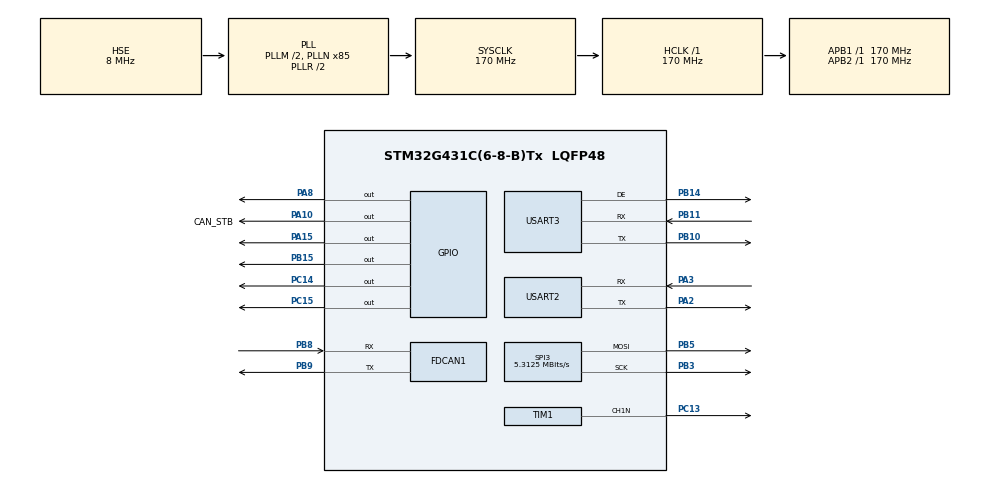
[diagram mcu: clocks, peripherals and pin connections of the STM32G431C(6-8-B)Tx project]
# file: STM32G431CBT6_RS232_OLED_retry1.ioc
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FDCAN1.AutoRetransmission=ENABLE
FDCAN1.CalculateBaudRateNominal=500000
FDCAN1.CalculateTimeBitNominal=2000
FDCAN1.CalculateTimeQuantumNominal=100.0
FDCAN1.DataPrescaler=17
FDCAN1.DataSyncJumpWidth=4
FDCAN1.DataTimeSeg1=15
FDCAN1.DataTimeSeg2=4
FDCAN1.NominalPrescaler=17
FDCAN1.NominalSyncJumpWidth=2
FDCAN1.NominalTimeSeg1=15
FDCAN1.NominalTimeSeg2=4
Mcu.Family=STM32G4
Mcu.Name=STM32G431C(6-8-B)Tx
Mcu.Package=LQFP48
NVIC.FDCAN1_IT0_IRQn=true\:0\:0\:false\:false\:true\:true\:true\:true
NVIC.PriorityGroup=NVIC_PRIORITYGROUP_4
NVIC.USART2_IRQn=true\:0\:0\:false\:false\:true\:true\:true\:true
NVIC.USART3_IRQn=true\:0\:0\:false\:false\:true\:true\:true\:true
PA10.GPIO_Label=CAN_STB
PA10.GPIO_PuPd=GPIO_NOPULL
PA10.Signal=GPIO_Output
PA13.Mode=Serial_Wire
PA13.Signal=SYS_JTMS-SWDIO
PA14.Mode=Serial_Wire
PA14.Signal=SYS_JTCK-SWCLK
PA15.GPIO_Speed=GPIO_SPEED_FREQ_VERY_HIGH
PA15.Signal=GPIO_Output
PA2.Mode=Asynchronous
PA2.Signal=USART2_TX
PA3.Mode=Asynchronous
PA3.Signal=USART2_RX
PA8.GPIO_Speed=GPIO_SPEED_FREQ_VERY_HIGH
PA8.Signal=GPIO_Output
PB10.Mode=Asynchronous
PB10.Signal=USART3_TX
PB11.Mode=Asynchronous
PB11.Signal=USART3_RX
PB14.Mode=Hardware Flow Control (RS485)
PB14.Signal=USART3_DE
PB15.GPIO_Speed=GPIO_SPEED_FREQ_VERY_HIGH
PB15.Signal=GPIO_Output
PB3.Mode=TX_Only_Simplex_Unidirect_Master
PB3.Signal=SPI3_SCK
PB5.Mode=TX_Only_Simplex_Unidirect_Master
PB5.Signal=SPI3_MOSI
PB8-BOOT0.Mode=FDCAN_Activate
PB8-BOOT0.Signal=FDCAN1_RX
PB9.Mode=FDCAN_Activate
PB9.Signal=FDCAN1_TX
PC13.Mode=PWM Generation1 CH1N
PC13.Signal=TIM1_CH1N
PC14-OSC32_IN.Signal=GPIO_Output
PC15-OSC32_OUT.Signal=GPIO_Output
PF0-OSC_IN.Mode=HSE-External-Oscillator
PF0-OSC_IN.Signal=RCC_OSC_IN
PF1-OSC_OUT.Mode=HSE-External-Oscillator
PF1-OSC_OUT.Signal=RCC_OSC_OUT
ProjectManager.HeapSize=0x200
ProjectManager.StackSize=0x400
ProjectManager.TargetToolchain=STM32CubeIDE
RCC.ADC12Freq_Value=170000000
RCC.AHBFreq_Value=170000000
RCC.APB1Freq_Value=170000000
RCC.APB1TimFreq_Value=170000000
RCC.APB2Freq_Value=170000000
RCC.APB2TimFreq_Value=170000000
RCC.CortexFreq_Value=170000000
RCC.EXTERNAL_CLOCK_VALUE=12288000
RCC.FDCANCLockSelection=RCC_FDCANCLKSOURCE_PLL
RCC.HCLKFreq_Value=170000000
RCC.HSE_VALUE=8000000
RCC.HSI48_VALUE=48000000
RCC.HSI_VALUE=16000000
RCC.LSE_VALUE=32768
RCC.PLLM=RCC_PLLM_DIV2
RCC.PLLN=85
RCC.PLLSourceVirtual=RCC_PLLSOURCE_HSE
RCC.SYSCLKFreq_VALUE=170000000
RCC.SYSCLKSource=RCC_SYSCLKSOURCE_PLLCLK
RCC.USBFreq_Value=170000000
RCC.VCOOutputFreq_Value=340000000
SPI3.BaudRatePrescaler=SPI_BAUDRATEPRESCALER_32
SPI3.CalculateBaudRate=5.3125 MBits/s
SPI3.DataSize=SPI_DATASIZE_8BIT
SPI3.Direction=SPI_DIRECTION_2LINES
SPI3.Mode=SPI_MODE_MASTER
SPI3.VirtualType=VM_MASTER
TIM1.AutoReloadPreload=TIM_AUTORELOAD_PRELOAD_ENABLE
TIM1.AutomaticOutput=TIM_AUTOMATICOUTPUT_ENABLE
TIM1.Channel-PWM\ Generation1\ CH1N=TIM_CHANNEL_1
TIM1.PeriodNoDither=499
TIM1.Prescaler=169
TIM1.PulseNoDither_1=250
USART2.VirtualMode-Asynchronous=VM_ASYNC
USART3.UART_DEAssertionTime=1
USART3.UART_DEDeassertionTime=1
USART3.VirtualMode-Asynchronous=VM_ASYNC
USART3.VirtualMode-Hardware\ Flow\ Control\ (RS485)=VM_ASYNC
VP_SYS_VS_DBSignals.Mode=DisableDeadBatterySignals
VP_TIM1_VS_ClockSourceINT.Mode=Internal
board=custom

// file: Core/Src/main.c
/* USER CODE BEGIN Header */
/**
  ******************************************************************************
  * @file           : main.c
  * @brief          : Main program body
  ******************************************************************************
  * @attention
  *
  * Copyright (c) 2026 STMicroelectronics.
  * All rights reserved.
  *
  * This software is licensed under terms that can be found in the LICENSE file
  * in the root directory of this software component.
  * If no LICENSE file comes with this software, it is provided AS-IS.
  *
  ******************************************************************************
  */
/* USER CODE END Header */
#include "main.h"
#include "fdcan.h"
#include "spi.h"
#include "tim.h"
#include "usart.h"
#include "gpio.h"

/* USER CODE BEGIN Includes */
#include <string.h>
#include <stdio.h>
#include "font.h"
#include "ssd1322.h"
#include "uart_driver.h"
#include "led.h"
#include "buzzer.h"
#include "cli.h"
#include "fdcan.h"
#include "test.h"

/* USER CODE END Includes */

void SystemClock_Config(void);

int main(void)
{

  /* MCU Configuration--------------------------------------------------------*/

  /* Reset of all peripherals, Initializes the Flash interface and the Systick. */
  HAL_Init();

  /* Configure the system clock */
  SystemClock_Config();

  /* Initialize all configured peripherals */
  MX_GPIO_Init();
  MX_SPI3_Init();
  MX_USART2_UART_Init();
  MX_USART3_UART_Init();
  MX_TIM1_Init();
  MX_FDCAN1_Init();
  /* USER CODE BEGIN 2 */
    // OLED 초기화
    SSD1322_Init();
    UART_Driver_Init();
    LED_All_Off();
    CLI_Init();

    SSD1322_Clear();
    SSD1322_Update();

    SSD1322_PutString(0, 0, "SYSTEM READY", 15);
    SSD1322_Update();

  /* USER CODE END 2 */

  /* Infinite loop */
  /* USER CODE BEGIN WHILE */
    char can_msg_buf[40];

    while (1)
    {
        // [1] CAN Throughput 테스트 핸들러 (최상단 배치)
        // is_test_mode가 0일 때는 내부에서 아무것도 하지 않고 즉시 반환됩니다.
        CAN_Test_Run();

        // [2] CLI 처리는 상시 가동
        // 테스트 도중에도 'can_test stop' 명령을 즉시 처리할 수 있도록 블록 밖에 위치합니다.
        CLI_Process();

        // [3] 리소스 격리(Isolation) 전략
        // 테스트 모드(1:Best, 2:Worst)가 아닐 때만 무거운 OLED/수신 로직을 수행합니다.
        if (is_test_mode == 0)
        {
            // [A] 폴링 방식 CAN 수신
            CAN_Poll_Receive();

            // [B] CAN 수신 데이터 처리 및 디스플레이 업데이트
            if (can_rx_flag)
            {
                can_rx_flag = 0;
                SSD1322_Clear();

                // 1. CAN ID 및 HEX 데이터 변환
                sprintf(can_msg_buf, "CAN RX ID: 0x%03lX", can_rx_id);
                SSD1322_PutString(0, 0, can_msg_buf, 15);

                sprintf(can_msg_buf, "HEX: %02X %02X %02X %02X %02X %02X %02X %02X",
                        can_rx_data[0], can_rx_data[1], can_rx_data[2], can_rx_data[3],
                        can_rx_data[4], can_rx_data[5], can_rx_data[6], can_rx_data[7]);
                SSD1322_PutString(0, 32, can_msg_buf, 15);

                // 2. ASCII 데이터 변환 및 출력
                char ascii_buf[9] = {0};
                memcpy(ascii_buf, (const char*)can_rx_data, 8);
                sprintf(can_msg_buf, "TXT: %s", ascii_buf);
                SSD1322_PutString(0, 48, can_msg_buf, 15);

                // [핵심] SPI 전송 부하가 큰 함수이므로 테스트 중에는 실행을 차단합니다.
                SSD1322_Update();
                LED_Toggle(1);
            }
        }
    }
    /* USER CODE END WHILE */

}

void SystemClock_Config(void)
{
  RCC_OscInitTypeDef RCC_OscInitStruct = {0};
  RCC_ClkInitTypeDef RCC_ClkInitStruct = {0};

  /** Configure the main internal regulator output voltage
  */
  HAL_PWREx_ControlVoltageScaling(PWR_REGULATOR_VOLTAGE_SCALE1_BOOST);

  /** Initializes the RCC Oscillators according to the specified parameters
  * in the RCC_OscInitTypeDef structure.
  */
  RCC_OscInitStruct.OscillatorType = RCC_OSCILLATORTYPE_HSE;
  RCC_OscInitStruct.HSEState = RCC_HSE_ON;
  RCC_OscInitStruct.PLL.PLLState = RCC_PLL_ON;
  RCC_OscInitStruct.PLL.PLLSource = RCC_PLLSOURCE_HSE;
  RCC_OscInitStruct.PLL.PLLM = RCC_PLLM_DIV2;
  RCC_OscInitStruct.PLL.PLLN = 85;
  RCC_OscInitStruct.PLL.PLLP = RCC_PLLP_DIV2;
  RCC_OscInitStruct.PLL.PLLQ = RCC_PLLQ_DIV2;
  RCC_OscInitStruct.PLL.PLLR = RCC_PLLR_DIV2;
  if (HAL_RCC_OscConfig(&RCC_OscInitStruct) != HAL_OK)
  {
    Error_Handler();
  }

  /** Initializes the CPU, AHB and APB buses clocks
  */
  RCC_ClkInitStruct.ClockType = RCC_CLOCKTYPE_HCLK|RCC_CLOCKTYPE_SYSCLK
                              |RCC_CLOCKTYPE_PCLK1|RCC_CLOCKTYPE_PCLK2;
  RCC_ClkInitStruct.SYSCLKSource = RCC_SYSCLKSOURCE_PLLCLK;
  RCC_ClkInitStruct.AHBCLKDivider = RCC_SYSCLK_DIV1;
  RCC_ClkInitStruct.APB1CLKDivider = RCC_HCLK_DIV1;
  RCC_ClkInitStruct.APB2CLKDivider = RCC_HCLK_DIV1;

  if (HAL_RCC_ClockConfig(&RCC_ClkInitStruct, FLASH_LATENCY_4) != HAL_OK)
  {
    Error_Handler();
  }
}

void Error_Handler(void)
{
  __disable_irq();
  while (1)
  {
  }
}
